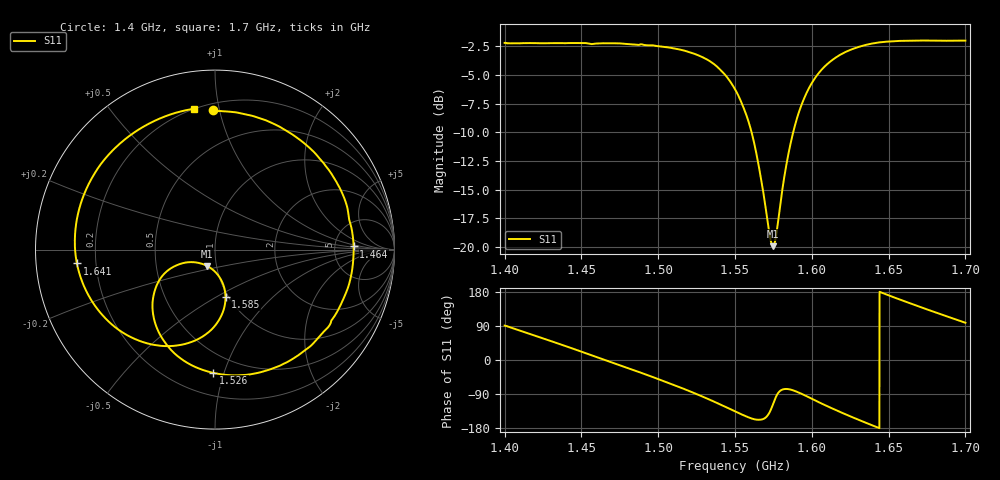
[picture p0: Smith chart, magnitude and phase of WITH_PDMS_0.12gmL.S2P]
!Keysight Technologies,E5063A,MY54503975,A.05.08
!Date: Fri Mar 07 04:52:09 2025
!Data & Calibration Information:
!Freq	S11:NONE(--)	S21:RESPT(ON)	S12:NONE(--)	S22:NONE(--)
# Hz S RI R 50
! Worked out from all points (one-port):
!   3001 points, 1.4 GHz to 1.7 GHz, reference 50 ohm
!   lowest |S11| = -19.9 dB at 1.575 GHz (marker M1), VSWR 1.22, Z = 45 - j8.24 ohm
!   |S11| at or under -10 dB: 1.561 GHz to 1.588 GHz (27.06 MHz wide, 1.72 % of centre)
!   S11 on the Smith chart (normalised r, x): 1.4 GHz: 0.25, +0.96; 1.464 GHz: 7.74, +0.68; 1.526 GHz: 0.35, -0.92; 1.585 GHz: 0.97, -0.55; 1.641 GHz: 0.13, -0.05; 1.7 GHz: 0.20, +0.85
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1.4e9  -0.0112 0.7756  -0 -0  0 0  0 0
1.4232e9  0.3913 0.6665  0 -0  0 0  0 0
1.45e9  0.7177 0.2932  -0 0  0 0  0 0
1.4644e9  0.7725 0.0178  -0 0  0 0  0 0
1.4813e9  0.7041 -0.2995  -0 0  0 0  0 0
1.5e9  0.4802 -0.5766  0 -0  0 0  0 0
1.5137e9  0.2318 -0.6884  0 0  0 0  0 0
1.5256e9  -0.0111 -0.6866  0 0  0 0  0 0
1.5393e9  -0.2575 -0.5448  0 0  0 0  0 0
1.55e9  -0.3471 -0.3421  0 -0  0 0  0 0
1.5613e9  -0.2781 -0.1297  0 0  0 0  0 0
1.5748e9  -0.0446 -0.0906  0 0  0 0  0 0
1.5855e9  0.0585 -0.2626  0 0  0 0  0 0
1.6e9  -0.1103 -0.5063  0 -0  0 0  0 0
1.6083e9  -0.2924 -0.5369  0 -0  0 0  0 0
1.6174e9  -0.4841 -0.4797  -0 0  0 0  0 0
1.6294e9  -0.6769 -0.3009  -0 0  0 0  0 0
1.6405e9  -0.7694 -0.0773  -0 -0  0 0  0 0
1.65e9  -0.7759 0.127  -0 -0  0 0  0 0
1.6625e9  -0.6991 0.3742  -0 -0  0 0  0 0
1.6761e9  -0.5304 0.5901  -0 -0  0 0  0 0
1.7e9  -0.1143 0.7853  -0 -0  0 0  0 0
